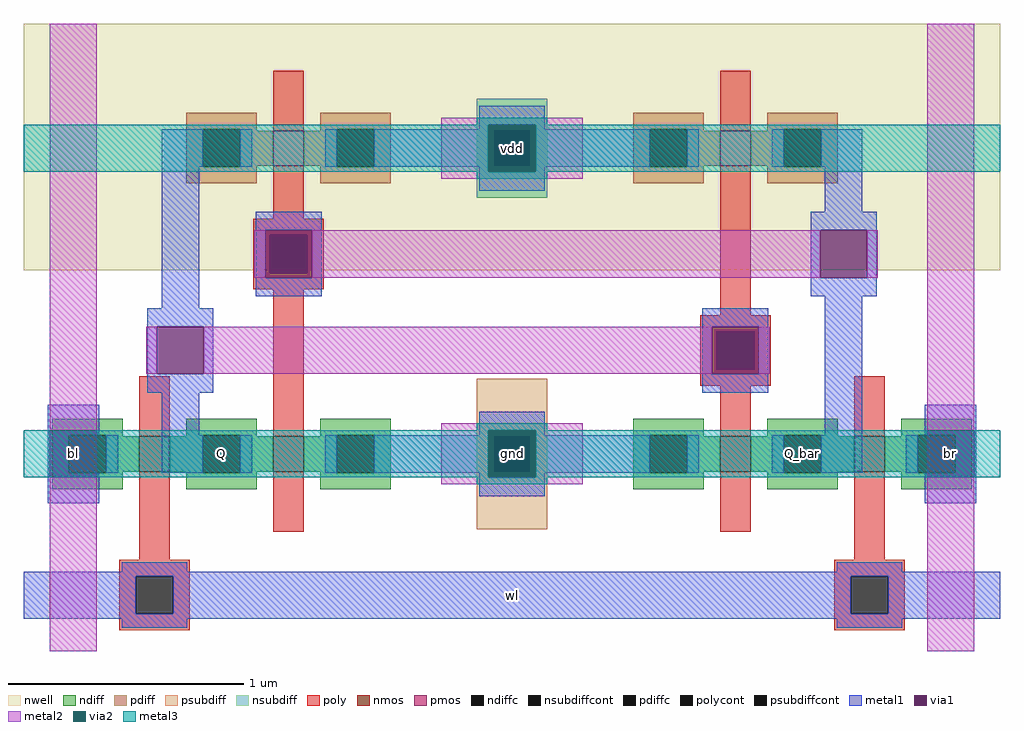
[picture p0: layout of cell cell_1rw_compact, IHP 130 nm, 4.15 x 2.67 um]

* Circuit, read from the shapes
.subckt cell_1rw_compact bl br wl vdd gnd
XM1 Q wl bl gnd sg13_lv_nmos w=0.15u l=0.13u
XM2 gnd Q_bar Q gnd sg13_lv_nmos w=0.15u l=0.13u
XM3 Q_bar Q gnd gnd sg13_lv_nmos w=0.15u l=0.13u
XM4 br wl Q_bar gnd sg13_lv_nmos w=0.15u l=0.13u
XM5 vdd Q_bar Q vdd sg13_lv_pmos w=0.15u l=0.13u
XM6 Q_bar Q vdd vdd sg13_lv_pmos w=0.15u l=0.13u
.ends

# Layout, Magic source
magic
tech ihp-sg13g2
magscale 1 2
<< nwell >>
rect -415 156 415 366
<< nmos >>
rect -317 -15 -291 15
rect -203 -15 -177 15
rect 177 -15 203 15
rect 291 -15 317 15
<< pmos >>
rect -203 245 -177 275
rect 177 245 203 275
<< ndiff >>
rect -391 16 -331 30
rect -391 -16 -377 16
rect -345 15 -331 16
rect -277 16 -217 30
rect -277 15 -263 16
rect -345 -15 -317 15
rect -291 -15 -263 15
rect -345 -16 -331 -15
rect -391 -30 -331 -16
rect -277 -16 -263 -15
rect -231 15 -217 16
rect -163 16 -103 30
rect -163 15 -149 16
rect -231 -15 -203 15
rect -177 -15 -149 15
rect -231 -16 -217 -15
rect -277 -30 -217 -16
rect -163 -16 -149 -15
rect -117 -16 -103 16
rect -163 -30 -103 -16
rect 103 16 163 30
rect 103 -16 117 16
rect 149 15 163 16
rect 217 16 277 30
rect 217 15 231 16
rect 149 -15 177 15
rect 203 -15 231 15
rect 149 -16 163 -15
rect 103 -30 163 -16
rect 217 -16 231 -15
rect 263 15 277 16
rect 331 16 391 30
rect 331 15 345 16
rect 263 -15 291 15
rect 317 -15 345 15
rect 263 -16 277 -15
rect 217 -30 277 -16
rect 331 -16 345 -15
rect 377 -16 391 16
rect 331 -30 391 -16
<< pdiff >>
rect -277 276 -217 290
rect -277 244 -263 276
rect -231 275 -217 276
rect -163 276 -103 290
rect -163 275 -149 276
rect -231 245 -203 275
rect -177 245 -149 275
rect -231 244 -217 245
rect -277 230 -217 244
rect -163 244 -149 245
rect -117 244 -103 276
rect -163 230 -103 244
rect 103 276 163 290
rect 103 244 117 276
rect 149 275 163 276
rect 217 276 277 290
rect 217 275 231 276
rect 149 245 177 275
rect 203 245 231 275
rect 149 244 163 245
rect 103 230 163 244
rect 217 244 231 245
rect 263 244 277 276
rect 217 230 277 244
<< ndiffc >>
rect -377 -16 -345 16
rect -263 -16 -231 16
rect -149 -16 -117 16
rect 117 -16 149 16
rect 231 -16 263 16
rect 345 -16 377 16
<< pdiffc >>
rect -263 244 -231 276
rect -149 244 -117 276
rect 117 244 149 276
rect 231 244 263 276
<< psubdiff >>
rect -30 16 30 64
rect -30 -16 -16 16
rect 16 -16 30 16
rect -30 -64 30 -16
<< nsubdiff >>
rect -30 276 30 302
rect -30 244 -16 276
rect 16 244 30 276
rect -30 218 30 244
<< psubdiffcont >>
rect -16 -16 16 16
<< nsubdiffcont >>
rect -16 244 16 276
<< poly >>
rect -203 275 -177 326
rect -203 200 -177 245
rect 177 275 203 326
rect -220 186 -160 200
rect -220 154 -206 186
rect -174 154 -160 186
rect -220 140 -160 154
rect -317 15 -291 66
rect -317 -90 -291 -15
rect -203 15 -177 140
rect 177 118 203 245
rect 160 104 220 118
rect 160 72 174 104
rect 206 72 220 104
rect -203 -66 -177 -15
rect 160 58 220 72
rect 177 15 203 58
rect 177 -66 203 -15
rect 291 15 317 66
rect 291 -90 317 -15
rect -334 -104 -274 -90
rect -334 -136 -320 -104
rect -288 -136 -274 -104
rect -334 -150 -274 -136
rect 274 -104 334 -90
rect 274 -136 288 -104
rect 320 -136 334 -104
rect 274 -150 334 -136
<< polycont >>
rect -206 154 -174 186
rect 174 72 206 104
rect -320 -136 -288 -104
rect 288 -136 320 -104
<< metal1 >>
rect -28 280 28 296
rect -28 276 -20 280
rect 20 276 28 280
rect -298 244 -263 276
rect -231 244 -221 276
rect -159 244 -149 276
rect -117 244 -20 276
rect 20 244 117 276
rect 149 244 159 276
rect 221 244 231 276
rect 263 244 298 276
rect -298 124 -266 244
rect -28 240 -20 244
rect 20 240 28 244
rect -28 224 28 240
rect 266 206 298 244
rect -218 190 -162 206
rect -218 150 -210 190
rect -170 150 -162 190
rect -218 134 -162 150
rect 254 190 310 206
rect 254 150 262 190
rect 302 150 310 190
rect 254 134 310 150
rect -310 108 -254 124
rect -310 68 -302 108
rect -262 68 -254 108
rect -310 52 -254 68
rect 162 108 218 124
rect 162 68 170 108
rect 210 68 218 108
rect 162 52 218 68
rect -395 20 -351 42
rect -395 -20 -393 20
rect -353 16 -351 20
rect -298 16 -266 52
rect -28 20 28 36
rect -28 16 -20 20
rect 20 16 28 20
rect 266 16 298 134
rect 351 20 395 42
rect 351 16 353 20
rect -345 -16 -335 16
rect -298 -16 -263 16
rect -231 -16 -221 16
rect -159 -16 -149 16
rect -117 -16 -20 16
rect 20 -16 117 16
rect 149 -16 159 16
rect 221 -16 231 16
rect 263 -16 298 16
rect 335 -16 345 16
rect -353 -20 -351 -16
rect -395 -42 -351 -20
rect -28 -20 -20 -16
rect 20 -20 28 -16
rect -28 -36 28 -20
rect 351 -20 353 -16
rect 393 -20 395 20
rect 351 -42 395 -20
rect -332 -100 -276 -92
rect 276 -100 332 -92
rect -415 -104 415 -100
rect -415 -136 -320 -104
rect -288 -136 288 -104
rect 320 -136 415 -104
rect -415 -140 415 -136
rect -332 -148 -276 -140
rect 276 -148 332 -140
<< via1 >>
rect -20 276 20 280
rect -20 244 -16 276
rect -16 244 16 276
rect 16 244 20 276
rect -20 240 20 244
rect -210 186 -170 190
rect -210 154 -206 186
rect -206 154 -174 186
rect -174 154 -170 186
rect -210 150 -170 154
rect 262 150 302 190
rect -302 68 -262 108
rect 170 104 210 108
rect 170 72 174 104
rect 174 72 206 104
rect 206 72 210 104
rect 170 68 210 72
rect -393 16 -353 20
rect -20 16 20 20
rect 353 16 393 20
rect -393 -16 -377 16
rect -377 -16 -353 16
rect -20 -16 -16 16
rect -16 -16 16 16
rect 16 -16 20 16
rect 353 -16 377 16
rect 377 -16 393 16
rect -393 -20 -353 -16
rect -20 -20 20 -16
rect 353 -20 393 -16
<< metal2 >>
rect -393 20 -353 366
rect -60 280 60 286
rect -60 240 -20 280
rect 20 240 60 280
rect -60 234 60 240
rect -219 150 -210 190
rect -170 150 262 190
rect 302 150 311 190
rect -311 68 -302 108
rect -262 68 170 108
rect 210 68 219 108
rect -393 -168 -353 -20
rect -60 20 60 26
rect -60 -20 -20 20
rect 20 -20 60 20
rect -60 -26 60 -20
rect 353 20 393 366
rect 353 -168 393 -20
<< via2 >>
rect -20 240 20 280
rect -20 -20 20 20
<< metal3 >>
rect -30 280 30 286
rect -415 240 -20 280
rect 20 240 415 280
rect -30 234 30 240
rect -30 20 30 26
rect -415 -20 -20 20
rect 20 -20 415 20
rect -30 -26 30 -20
<< labels >>
rlabel via1 -373 0 -373 0 0 bl
port 1 nsew
rlabel via1 373 0 373 0 0 br
port 2 nsew
rlabel metal1 0 -120 0 -120 0 wl
port 3 nsew
rlabel via2 0 260 0 260 0 vdd
port 4 nsew
rlabel via2 0 0 0 0 0 gnd
port 5 nsew
rlabel ndiffc -247 0 -247 0 0 Q
rlabel ndiffc 247 0 247 0 0 Q_bar
<< properties >>
string FIXED_BBOX -415 -168 415 366
<< end >>
